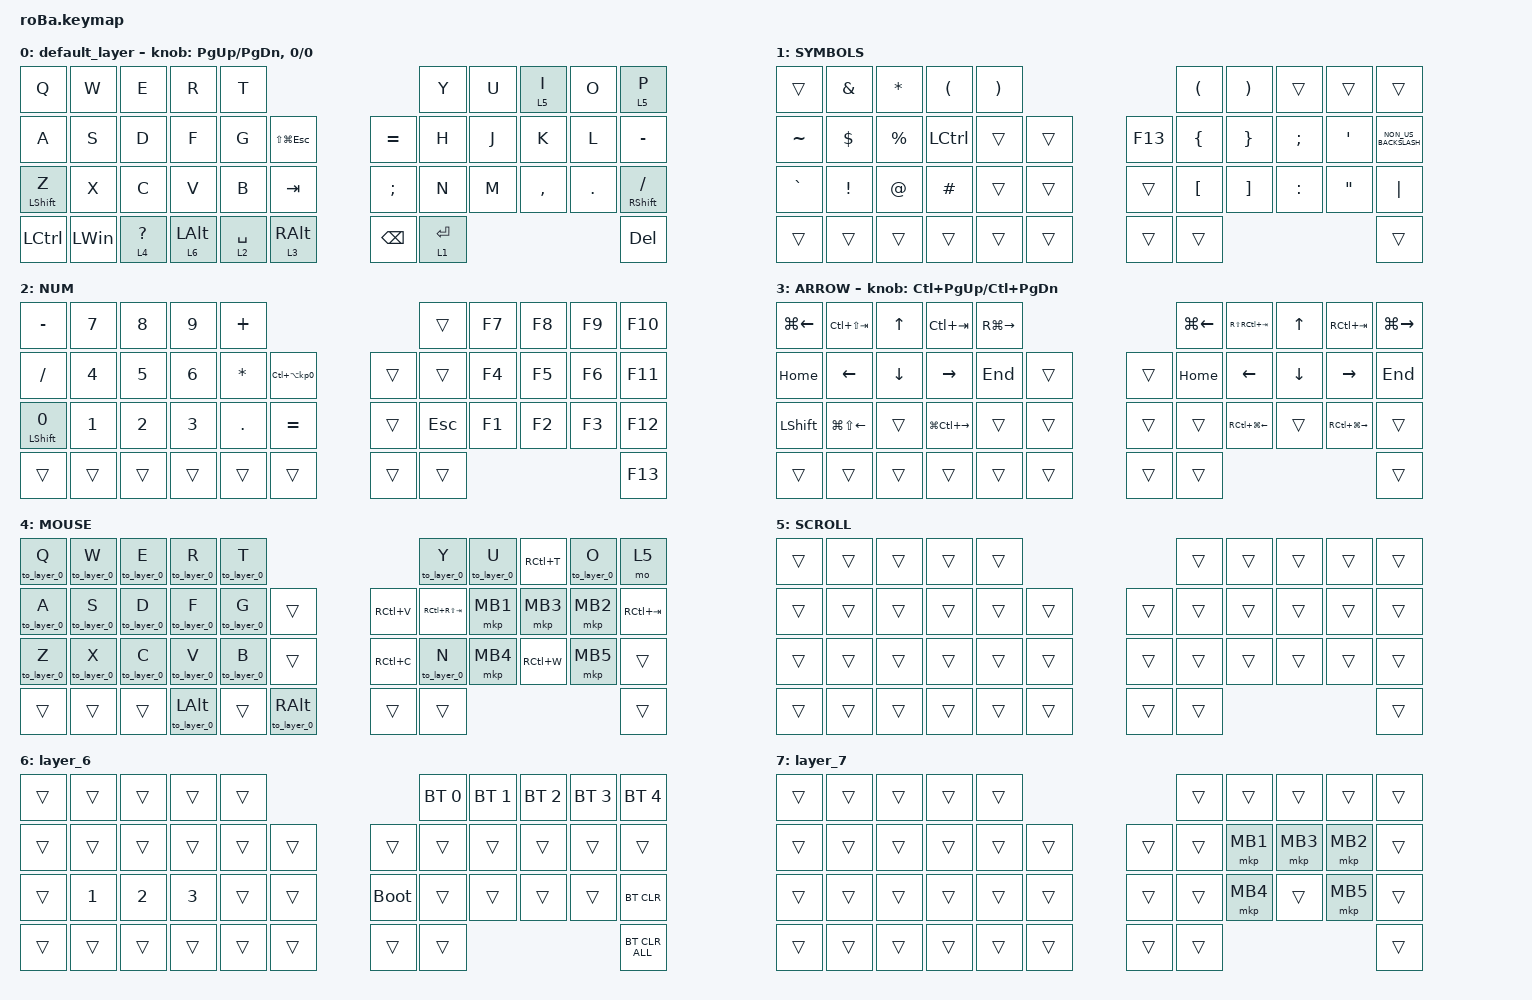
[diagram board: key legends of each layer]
#include <behaviors.dtsi>
#include <dt-bindings/zmk/bt.h>
#include <dt-bindings/zmk/keys.h>
#include <dt-bindings/zmk/pointing.h>

&mt {
    flavor = "balanced";
    quick-tap-ms = <0>;
};

&trackball {
    automouse-layer = <4>;
    scroll-layers = <5>;

    // arrows {
    //     layers = <3>;
    //     bindings =
    //         <&kp RIGHT_ARROW>,
    //         <&kp LEFT_ARROW>,
    //         <&kp UP_ARROW>,
    //         <&kp DOWN_ARROW>;
    //     tick = <10>;
    //     wait-ms = <5>;
    //     tap-ms = <5>;
    // };
};

/ {
    combos {
        compatible = "zmk,combos";

        tab {
            bindings = <&kp TAB>;
            key-positions = <11 12>;
        };

        shift_tab {
            bindings = <&kp LS(TAB)>;
            key-positions = <12 13>;
        };

        muhennkann {
            bindings = <&to_layer_0 INT_MUHENKAN>;
            key-positions = <11 10>;
        };

        double_quotation {
            bindings = <&kp DOUBLE_QUOTES>;
            key-positions = <20 21>;
        };

        eq {
            bindings = <&kp EQUAL>;
            key-positions = <24 25>;
        };
    };

    macros {
        mkp_exit_AML: mkp_exit_AML {
            compatible = "zmk,behavior-macro-one-param";
            #binding-cells = <1>;
            bindings =
                <&macro_press>,
                <&macro_param_1to1 &mkp MACRO_PLACEHOLDER>,
                <&macro_pause_for_release>,
                <&macro_release>,
                <&macro_param_1to1 &mkp MACRO_PLACEHOLDER>,
                <&macro_tap>,
                <&sl 4>;

            label = "MKP_EXIT_AML";
        };

        to_layer_0: to_layer_0 {
            compatible = "zmk,behavior-macro-one-param";
            #binding-cells = <1>;
            bindings = <&to 0 &macro_param_1to1 &kp MACRO_PLACEHOLDER>;
            label = "TO_LAYER_0";
        };
    };

    behaviors {
        lt_to_layer_0: lt_to_layer_0 {
            compatible = "zmk,behavior-hold-tap";
            label = "LAYER_TAP_TO_0";
            bindings = <&mo>, <&to_layer_0>;

            #binding-cells = <2>;
            tapping-term-ms = <200>;
        };
    };

    keymap {
        compatible = "zmk,keymap";

        default_layer {
            bindings = <
&kp Q             &kp W         &kp E                      &kp R                      &kp T                                                       &kp Y        &kp U  &lt 5 I    &kp O    &lt 5 P
&kp A             &kp S         &kp D                      &kp F                      &kp G        &kp LS(LG(ESC))                 &kp EQUAL      &kp H        &kp J  &kp K      &kp L    &kp MINUS
&mt LEFT_SHIFT Z  &kp X         &kp C                      &kp V                      &kp B        &kp TAB                         &kp SEMICOLON  &kp N        &kp M  &kp COMMA  &kp DOT  &mt RIGHT_SHIFT SLASH
&kp LCTRL         &kp LEFT_WIN  &lt_to_layer_0 4 QUESTION  &lt_to_layer_0 6 LEFT_ALT  &lt 2 SPACE  &lt_to_layer_0 3 RIGHT_ALT      &kp BACKSPACE  &lt 1 ENTER                             &kp DELETE
            >;

            sensor-bindings = <&inc_dec_kp PG_UP PAGE_DOWN>, <&inc_dec_kp 0 0>;
        };

        SYMBOLS {
            bindings = <
&trans     &kp AMPERSAND    &kp ASTERISK  &kp LEFT_PARENTHESIS  &kp RIGHT_PARENTHESIS                       &kp LEFT_PARENTHESIS  &kp RIGHT_PARENTHESIS  &trans         &trans             &trans
&kp TILDE  &kp DOLLAR       &kp PRCNT     &kp LCTRL             &trans                 &trans      &kp F13  &kp LEFT_BRACE        &kp RIGHT_BRACE        &kp SEMICOLON  &kp SINGLE_QUOTE   &kp NON_US_BACKSLASH
&kp GRAVE  &kp EXCLAMATION  &kp AT_SIGN   &kp HASH              &trans                 &trans      &trans   &kp LEFT_BRACKET      &kp RIGHT_BRACKET      &kp COLON      &kp DOUBLE_QUOTES  &kp PIPE
&trans     &trans           &trans        &trans                &trans                 &trans      &trans   &trans                                                                         &trans
            >;
        };

        NUM {
            bindings = <
&kp MINUS          &kp NUMBER_7  &kp N8  &kp N9  &kp PLUS                                           &trans      &kp F7  &kp F8  &kp F9  &kp F10
&kp SLASH          &kp N4        &kp N5  &kp N6  &kp ASTERISK  &kp LC(LA(KP_NUMBER_0))      &trans  &trans      &kp F4  &kp F5  &kp F6  &kp F11
&mt LEFT_SHIFT N0  &kp N1        &kp N2  &kp N3  &kp PERIOD    &kp EQUAL                    &trans  &kp ESCAPE  &kp F1  &kp F2  &kp F3  &kp F12
&trans             &trans        &trans  &trans  &trans        &trans                       &trans  &trans                              &kp F13
            >;
        };

        ARROW {
            bindings = <
&kp LG(LEFT_ARROW)  &kp LC(LS(TAB))         &kp UP_ARROW    &kp LC(TAB)              &kp RG(RIGHT_ARROW)                      &kp LG(LEFT_ARROW)  &kp RS(RC(TAB))         &kp UP_ARROW    &kp RC(TAB)              &kp LG(RIGHT_ARROW)
&kp HOME            &kp LEFT_ARROW          &kp DOWN_ARROW  &kp RIGHT_ARROW          &kp END              &trans      &trans  &kp HOME            &kp LEFT_ARROW          &kp DOWN_ARROW  &kp RIGHT_ARROW          &kp END
&kp LEFT_SHIFT      &kp LG(LS(LEFT_ARROW))  &trans          &kp LG(LC(RIGHT_ARROW))  &trans               &trans      &trans  &trans              &kp RC(LG(LEFT_ARROW))  &trans          &kp RC(LG(RIGHT_ARROW))  &trans
&trans              &trans                  &trans          &trans                   &trans               &trans      &trans  &trans                                                                               &trans
            >;

            sensor-bindings = <&inc_dec_kp LC(PAGE_UP) LC(PAGE_DOWN)>;
        };

        MOUSE {
            bindings = <
&to_layer_0 Q  &to_layer_0 W  &to_layer_0 E  &to_layer_0 R         &to_layer_0 T                                        &to_layer_0 Y    &to_layer_0 U  &kp RC(T)  &to_layer_0 O  &mo 5
&to_layer_0 A  &to_layer_0 S  &to_layer_0 D  &to_layer_0 F         &to_layer_0 G  &trans                     &kp RC(V)  &kp RC(RS(TAB))  &mkp MB1       &mkp MB3   &mkp MB2       &kp RC(TAB)
&to_layer_0 Z  &to_layer_0 X  &to_layer_0 C  &to_layer_0 V         &to_layer_0 B  &trans                     &kp RC(C)  &to_layer_0 N    &mkp MB4       &kp RC(W)  &mkp MB5       &trans
&trans         &trans         &trans         &to_layer_0 LEFT_ALT  &trans         &to_layer_0 RIGHT_ALT      &trans     &trans                                                    &trans
            >;
        };

        SCROLL {
            bindings = <
&trans  &trans  &trans  &trans  &trans                      &trans  &trans  &trans  &trans  &trans
&trans  &trans  &trans  &trans  &trans  &trans      &trans  &trans  &trans  &trans  &trans  &trans
&trans  &trans  &trans  &trans  &trans  &trans      &trans  &trans  &trans  &trans  &trans  &trans
&trans  &trans  &trans  &trans  &trans  &trans      &trans  &trans                          &trans
            >;
        };

        layer_6 {
            bindings = <
&trans  &trans        &trans        &trans        &trans                           &bt BT_SEL 0  &bt BT_SEL 1  &bt BT_SEL 2  &bt BT_SEL 3  &bt BT_SEL 4
&trans  &trans        &trans        &trans        &trans  &trans      &trans       &trans        &trans        &trans        &trans        &trans
&trans  &kp NUMBER_1  &kp NUMBER_2  &kp NUMBER_3  &trans  &trans      &bootloader  &trans        &trans        &trans        &trans        &bt BT_CLR
&trans  &trans        &trans        &trans        &trans  &trans      &trans       &trans                                                  &bt BT_CLR_ALL
            >;
        };

        layer_7 {
            bindings = <
&trans  &trans  &trans  &trans  &trans                      &trans  &trans    &trans    &trans    &trans
&trans  &trans  &trans  &trans  &trans  &trans      &trans  &trans  &mkp MB1  &mkp MB3  &mkp MB2  &trans
&trans  &trans  &trans  &trans  &trans  &trans      &trans  &trans  &mkp MB4  &trans    &mkp MB5  &trans
&trans  &trans  &trans  &trans  &trans  &trans      &trans  &trans                                &trans
            >;
        };
    };
};
